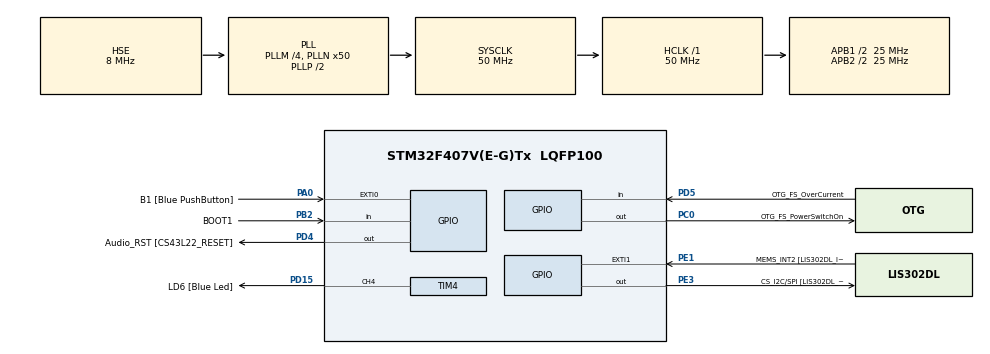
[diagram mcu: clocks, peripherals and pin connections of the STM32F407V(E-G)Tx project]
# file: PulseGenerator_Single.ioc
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Mcu.Family=STM32F4
Mcu.Name=STM32F407V(E-G)Tx
Mcu.Package=LQFP100
NVIC.PriorityGroup=NVIC_PRIORITYGROUP_0
NVIC.TIM4_IRQn=true\:0\:0\:false\:false\:true\:true\:true\:true
PA0-WKUP.GPIO_Label=B1 [Blue PushButton]
PA0-WKUP.GPIO_ModeDefaultEXTI=GPIO_MODE_EVT_RISING
PA0-WKUP.GPIO_PuPd=GPIO_NOPULL
PA0-WKUP.Signal=GPXTI0
PA13.GPIO_Label=SWDIO
PA13.Mode=Serial_Wire
PA13.Signal=SYS_JTMS-SWDIO
PA14.GPIO_Label=SWCLK
PA14.Mode=Serial_Wire
PA14.Signal=SYS_JTCK-SWCLK
PB2.GPIO_Label=BOOT1
PB2.GPIO_Mode=GPIO_MODE_INPUT
PB2.GPIO_PuPd=GPIO_NOPULL
PB2.Signal=GPIO_Input
PC0.GPIO_Label=OTG_FS_PowerSwitchOn
PC0.GPIO_PuPd=GPIO_NOPULL
PC0.GPIO_Speed=GPIO_SPEED_FREQ_LOW
PC0.PinState=GPIO_PIN_SET
PC0.Signal=GPIO_Output
PD12.GPIO_Label=LD4 [Green Led]
PD12.Signal=S_TIM4_CH1
PD13.GPIO_Label=LD3 [Orange Led]
PD13.Signal=S_TIM4_CH2
PD14.GPIO_Label=LD5 [Red Led]
PD14.Signal=S_TIM4_CH3
PD15.GPIO_Label=LD6 [Blue Led]
PD15.Signal=S_TIM4_CH4
PD4.GPIO_Label=Audio_RST [CS43L22_RESET]
PD4.GPIO_PuPd=GPIO_NOPULL
PD4.GPIO_Speed=GPIO_SPEED_FREQ_LOW
PD4.Signal=GPIO_Output
PD5.GPIO_Label=OTG_FS_OverCurrent
PD5.GPIO_Mode=GPIO_MODE_INPUT
PD5.GPIO_PuPd=GPIO_NOPULL
PD5.Signal=GPIO_Input
PE1.GPIO_Label=MEMS_INT2 [LIS302DL_INT2]
PE1.GPIO_ModeDefaultEXTI=GPIO_MODE_EVT_RISING
PE1.GPIO_PuPd=GPIO_NOPULL
PE1.Signal=GPXTI1
PE3.GPIO_Label=CS_I2C/SPI [LIS302DL_CS_I2C/SPI]
PE3.GPIO_PuPd=GPIO_NOPULL
PE3.GPIO_Speed=GPIO_SPEED_FREQ_LOW
PE3.Signal=GPIO_Output
PH0-OSC_IN.GPIO_Label=PH0-OSC_IN
PH0-OSC_IN.Mode=HSE-External-Oscillator
PH0-OSC_IN.Signal=RCC_OSC_IN
PH1-OSC_OUT.GPIO_Label=PH1-OSC_OUT
PH1-OSC_OUT.Mode=HSE-External-Oscillator
PH1-OSC_OUT.Signal=RCC_OSC_OUT
ProjectManager.HeapSize=0x200
ProjectManager.StackSize=0x400
ProjectManager.TargetToolchain=STM32CubeIDE
RCC.48MHZClocksFreq_Value=14285714.285714285
RCC.AHBFreq_Value=50000000
RCC.APB1CLKDivider=RCC_HCLK_DIV2
RCC.APB1Freq_Value=25000000
RCC.APB1TimFreq_Value=50000000
RCC.APB2CLKDivider=RCC_HCLK_DIV2
RCC.APB2Freq_Value=25000000
RCC.APB2TimFreq_Value=50000000
RCC.CortexFreq_Value=50000000
RCC.HCLKFreq_Value=50000000
RCC.HSE_VALUE=8000000
RCC.HSI_VALUE=16000000
RCC.LSE_VALUE=32768
RCC.PLLM=4
RCC.PLLN=50
RCC.PLLQ=7
RCC.PLLSourceVirtual=RCC_PLLSOURCE_HSE
RCC.SYSCLKFreq_VALUE=50000000
RCC.SYSCLKSource=RCC_SYSCLKSOURCE_PLLCLK
RCC.VCOOutputFreq_Value=100000000
SH.S_TIM4_CH1.0=TIM4_CH1
SH.S_TIM4_CH2.0=TIM4_CH2
SH.S_TIM4_CH3.0=TIM4_CH3
SH.S_TIM4_CH4.0=TIM4_CH4,Output Compare4 CH4
TIM4.Channel-Output\ Compare4\ CH4=TIM_CHANNEL_4
TIM4.OCMode_4=TIM_OCMODE_TOGGLE
board=STM32F407G-DISC1

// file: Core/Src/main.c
/* USER CODE BEGIN Header */
/**
  ******************************************************************************
  * @file           : main.c
  * @brief          : Main program body
  ******************************************************************************
  * @attention
  *
  * Copyright (c) 2025 STMicroelectronics.
  * All rights reserved.
  *
  * This software is licensed under terms that can be found in the LICENSE file
  * in the root directory of this software component.
  * If no LICENSE file comes with this software, it is provided AS-IS.
  *
  ******************************************************************************
  */
/* USER CODE END Header */
#include "main.h"

/* USER CODE BEGIN Includes */
#include "pulse_gen.h"

/* USER CODE END Includes */

TIM_HandleTypeDef htim4;

/* USER CODE BEGIN PV */
PulseGen_HandleTypeDef hPulseGen1 = {0};

/* USER CODE END PV */

void SystemClock_Config(void);
static void MX_GPIO_Init(void);
static void MX_TIM4_Init(void);
/* USER CODE BEGIN PFP */
static void APP_PulseGen_Init(void);

/* USER CODE END PFP */

int main(void)
{

  /* MCU Configuration--------------------------------------------------------*/

  /* Reset of all peripherals, Initializes the Flash interface and the Systick. */
  HAL_Init();

  /* Configure the system clock */
  SystemClock_Config();

  /* Initialize all configured peripherals */
  MX_GPIO_Init();
  MX_TIM4_Init();
  /* USER CODE BEGIN 2 */

  /* Initialize the Pulse Generator application */
  APP_PulseGen_Init();

  /* Configure pulse frequency to 5 Hz and generate 10 pulses */
  PulseGen_SetPulseFreq(&hPulseGen1, 5);
  PulseGen_GeneratePulses(&hPulseGen1, 10);

  /* Block execution until pulse generation is complete */
  while(hPulseGen1.State != PULSEGEN_INACTIVE) {}

  /* Reconfigure pulse frequency to 15 Hz and generate 40 pulses */
  PulseGen_SetPulseFreq(&hPulseGen1, 15);
  PulseGen_GeneratePulses(&hPulseGen1, 40);

  /* USER CODE END 2 */

  /* Infinite loop */
  while (1)
  {

  }
}

void SystemClock_Config(void)
{
  RCC_OscInitTypeDef RCC_OscInitStruct = {0};
  RCC_ClkInitTypeDef RCC_ClkInitStruct = {0};

  /** Configure the main internal regulator output voltage
  */
  __HAL_RCC_PWR_CLK_ENABLE();
  __HAL_PWR_VOLTAGESCALING_CONFIG(PWR_REGULATOR_VOLTAGE_SCALE1);

  /** Initializes the RCC Oscillators according to the specified parameters
  * in the RCC_OscInitTypeDef structure.
  */
  RCC_OscInitStruct.OscillatorType = RCC_OSCILLATORTYPE_HSE;
  RCC_OscInitStruct.HSEState = RCC_HSE_ON;
  RCC_OscInitStruct.PLL.PLLState = RCC_PLL_ON;
  RCC_OscInitStruct.PLL.PLLSource = RCC_PLLSOURCE_HSE;
  RCC_OscInitStruct.PLL.PLLM = 4;
  RCC_OscInitStruct.PLL.PLLN = 50;
  RCC_OscInitStruct.PLL.PLLP = RCC_PLLP_DIV2;
  RCC_OscInitStruct.PLL.PLLQ = 7;
  if (HAL_RCC_OscConfig(&RCC_OscInitStruct) != HAL_OK)
  {
    Error_Handler();
  }

  /** Initializes the CPU, AHB and APB buses clocks
  */
  RCC_ClkInitStruct.ClockType = RCC_CLOCKTYPE_HCLK|RCC_CLOCKTYPE_SYSCLK
                              |RCC_CLOCKTYPE_PCLK1|RCC_CLOCKTYPE_PCLK2;
  RCC_ClkInitStruct.SYSCLKSource = RCC_SYSCLKSOURCE_PLLCLK;
  RCC_ClkInitStruct.AHBCLKDivider = RCC_SYSCLK_DIV1;
  RCC_ClkInitStruct.APB1CLKDivider = RCC_HCLK_DIV2;
  RCC_ClkInitStruct.APB2CLKDivider = RCC_HCLK_DIV2;

  if (HAL_RCC_ClockConfig(&RCC_ClkInitStruct, FLASH_LATENCY_1) != HAL_OK)
  {
    Error_Handler();
  }
}

static void MX_TIM4_Init(void)
{

  TIM_MasterConfigTypeDef sMasterConfig = {0};
  TIM_OC_InitTypeDef sConfigOC = {0};

  htim4.Instance = TIM4;
  htim4.Init.Prescaler = 0;
  htim4.Init.CounterMode = TIM_COUNTERMODE_UP;
  htim4.Init.Period = 65535;
  htim4.Init.ClockDivision = TIM_CLOCKDIVISION_DIV1;
  htim4.Init.AutoReloadPreload = TIM_AUTORELOAD_PRELOAD_DISABLE;
  if (HAL_TIM_OC_Init(&htim4) != HAL_OK)
  {
    Error_Handler();
  }
  sMasterConfig.MasterOutputTrigger = TIM_TRGO_RESET;
  sMasterConfig.MasterSlaveMode = TIM_MASTERSLAVEMODE_DISABLE;
  if (HAL_TIMEx_MasterConfigSynchronization(&htim4, &sMasterConfig) != HAL_OK)
  {
    Error_Handler();
  }
  sConfigOC.OCMode = TIM_OCMODE_TOGGLE;
  sConfigOC.Pulse = 0;
  sConfigOC.OCPolarity = TIM_OCPOLARITY_HIGH;
  sConfigOC.OCFastMode = TIM_OCFAST_DISABLE;
  if (HAL_TIM_OC_ConfigChannel(&htim4, &sConfigOC, TIM_CHANNEL_4) != HAL_OK)
  {
    Error_Handler();
  }
  HAL_TIM_MspPostInit(&htim4);

}

static void MX_GPIO_Init(void)
{
  GPIO_InitTypeDef GPIO_InitStruct = {0};

  /* GPIO Ports Clock Enable */
  __HAL_RCC_GPIOE_CLK_ENABLE();
  __HAL_RCC_GPIOH_CLK_ENABLE();
  __HAL_RCC_GPIOC_CLK_ENABLE();
  __HAL_RCC_GPIOA_CLK_ENABLE();
  __HAL_RCC_GPIOB_CLK_ENABLE();
  __HAL_RCC_GPIOD_CLK_ENABLE();

  /*Configure GPIO pin Output Level */
  HAL_GPIO_WritePin(CS_I2C_SPI_GPIO_Port, CS_I2C_SPI_Pin, GPIO_PIN_RESET);

  /*Configure GPIO pin Output Level */
  HAL_GPIO_WritePin(OTG_FS_PowerSwitchOn_GPIO_Port, OTG_FS_PowerSwitchOn_Pin, GPIO_PIN_SET);

  /*Configure GPIO pin Output Level */
  HAL_GPIO_WritePin(Audio_RST_GPIO_Port, Audio_RST_Pin, GPIO_PIN_RESET);

  /*Configure GPIO pin : CS_I2C_SPI_Pin */
  GPIO_InitStruct.Pin = CS_I2C_SPI_Pin;
  GPIO_InitStruct.Mode = GPIO_MODE_OUTPUT_PP;
  GPIO_InitStruct.Pull = GPIO_NOPULL;
  GPIO_InitStruct.Speed = GPIO_SPEED_FREQ_LOW;
  HAL_GPIO_Init(CS_I2C_SPI_GPIO_Port, &GPIO_InitStruct);

  /*Configure GPIO pin : OTG_FS_PowerSwitchOn_Pin */
  GPIO_InitStruct.Pin = OTG_FS_PowerSwitchOn_Pin;
  GPIO_InitStruct.Mode = GPIO_MODE_OUTPUT_PP;
  GPIO_InitStruct.Pull = GPIO_NOPULL;
  GPIO_InitStruct.Speed = GPIO_SPEED_FREQ_LOW;
  HAL_GPIO_Init(OTG_FS_PowerSwitchOn_GPIO_Port, &GPIO_InitStruct);

  /*Configure GPIO pin : B1_Pin */
  GPIO_InitStruct.Pin = B1_Pin;
  GPIO_InitStruct.Mode = GPIO_MODE_EVT_RISING;
  GPIO_InitStruct.Pull = GPIO_NOPULL;
  HAL_GPIO_Init(B1_GPIO_Port, &GPIO_InitStruct);

  /*Configure GPIO pin : BOOT1_Pin */
  GPIO_InitStruct.Pin = BOOT1_Pin;
  GPIO_InitStruct.Mode = GPIO_MODE_INPUT;
  GPIO_InitStruct.Pull = GPIO_NOPULL;
  HAL_GPIO_Init(BOOT1_GPIO_Port, &GPIO_InitStruct);

  /*Configure GPIO pin : Audio_RST_Pin */
  GPIO_InitStruct.Pin = Audio_RST_Pin;
  GPIO_InitStruct.Mode = GPIO_MODE_OUTPUT_PP;
  GPIO_InitStruct.Pull = GPIO_NOPULL;
  GPIO_InitStruct.Speed = GPIO_SPEED_FREQ_LOW;
  HAL_GPIO_Init(Audio_RST_GPIO_Port, &GPIO_InitStruct);

  /*Configure GPIO pin : OTG_FS_OverCurrent_Pin */
  GPIO_InitStruct.Pin = OTG_FS_OverCurrent_Pin;
  GPIO_InitStruct.Mode = GPIO_MODE_INPUT;
  GPIO_InitStruct.Pull = GPIO_NOPULL;
  HAL_GPIO_Init(OTG_FS_OverCurrent_GPIO_Port, &GPIO_InitStruct);

  /*Configure GPIO pin : MEMS_INT2_Pin */
  GPIO_InitStruct.Pin = MEMS_INT2_Pin;
  GPIO_InitStruct.Mode = GPIO_MODE_EVT_RISING;
  GPIO_InitStruct.Pull = GPIO_NOPULL;
  HAL_GPIO_Init(MEMS_INT2_GPIO_Port, &GPIO_InitStruct);

}

/* USER CODE BEGIN 4 */
static void APP_PulseGen_Init(void){
	hPulseGen1.htim = &htim4;
	hPulseGen1.TimChannel = TIM_CHANNEL_4;
	hPulseGen1.Init.MaxPulseFreq = 20;
	hPulseGen1.Init.MinDeltaCCR = 200;

	if(PulseGen_Init(&hPulseGen1) == PULSEGEN_ERROR){
		Error_Handler();
	}
}
/* USER CODE END 4 */

void Error_Handler(void)
{
  __disable_irq();
  while (1)
  {
  }
}
